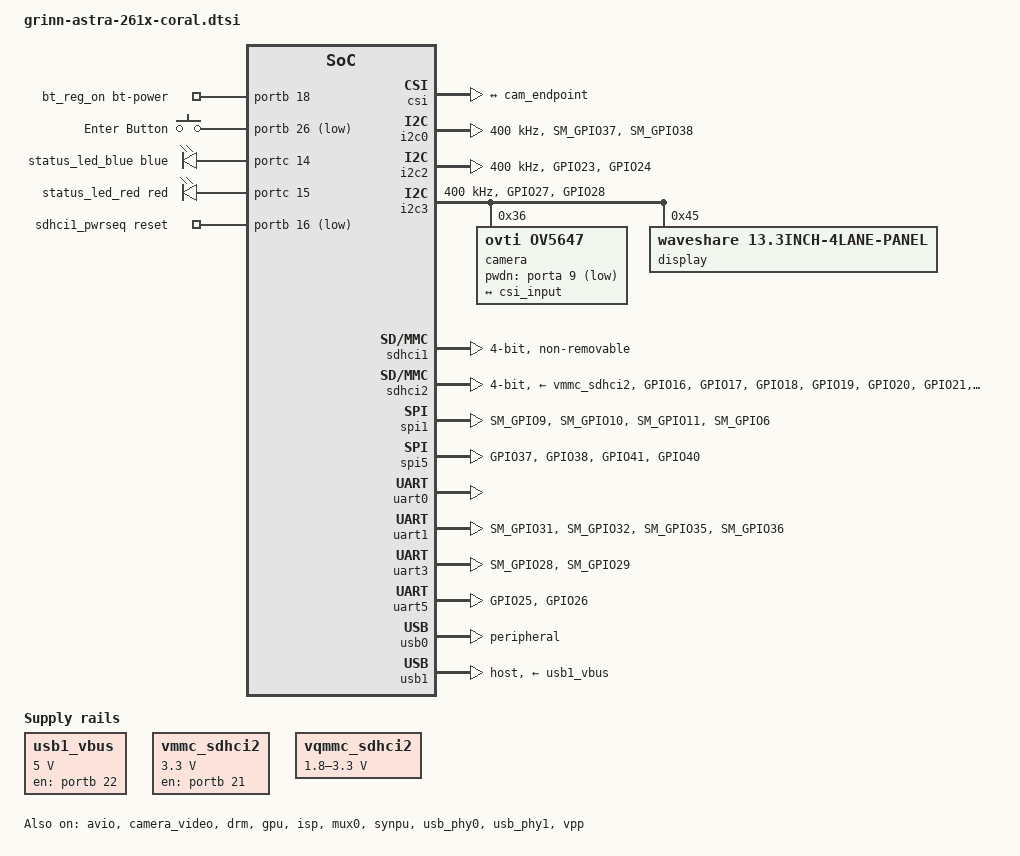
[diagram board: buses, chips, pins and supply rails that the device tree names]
#include <dt-bindings/gpio/gpio.h>
#include <dt-bindings/input/input.h>
#include <dt-bindings/leds/common.h>

/ {
	chosen {
		stdout-path = "serial0:115200n8";
	};

	bt_reg_on: bt-reg-on {
		compatible = "syna,rfkill";
		status = "okay";
		pinctrl-names = "default";
		pinctrl-0 = <&w_disable2_pmux>;
		bt-power-gpio = <&portb 18 GPIO_ACTIVE_HIGH>;
	};

	keys {
		compatible = "gpio-keys";
		status = "okay";

		user-button {
			pinctrl-names = "default";
			pinctrl-0 = <&user_button_pmux>;
			label = "Enter Button";
			linux,code = <KEY_ENTER>;
			gpios = <&portb 26 GPIO_ACTIVE_LOW>;
			debounce-interval = <50>;
		};
	};

	leds {
		compatible = "gpio-leds";
		status = "okay";

		status_led_blue: status-led-blue {
			pinctrl-names = "default";
			pinctrl-0 = <&led_1_pmux>;
			gpios = <&portc 14 GPIO_ACTIVE_HIGH>;
			color = <LED_COLOR_ID_BLUE>;
			function = LED_FUNCTION_DISK_ACTIVITY;
			linux,default-trigger = "mmc0";
			default-state = "off";
		};

		status_led_red: status-led-red {
			pinctrl-names = "default";
			pinctrl-0 = <&led_2_pmux>;
			gpios = <&portc 15 GPIO_ACTIVE_HIGH>;
			color = <LED_COLOR_ID_RED>;
			function = LED_FUNCTION_HEARTBEAT;
			linux,default-trigger = "heartbeat";
			default-state = "off";
		};
	};

	regulators {
		compatible = "simple-bus";
		#address-cells = <1>;
		#size-cells = <0>;

		usb1_vbus: usb1-vbus {
			compatible = "regulator-fixed";
			pinctrl-names = "default";
			pinctrl-0 = <&usb_host_pwr_en_pmux>;
			regulator-name = "usb1_vbus";
			regulator-min-microvolt = <5000000>;
			regulator-max-microvolt = <5000000>;
			gpio = <&portb 22 GPIO_ACTIVE_HIGH>;
			enable-active-high;
		};

		vmmc_sdhci2: vmmc-sdhci2 {
			compatible = "regulator-fixed";
			pinctrl-names = "default";
			pinctrl-0 = <&vmmc_sdhci2_pmux>;
			regulator-name = "vmmc_sdio";
			regulator-min-microvolt = <3300000>;
			regulator-max-microvolt = <3300000>;
			gpio = <&portb 21 GPIO_ACTIVE_HIGH>;
			enable-active-high;
			regulator-boot-on;
		};

		vqmmc_sdhci2: vqmmc-sdhci2 {
			compatible = "regulator-gpio";
			pinctrl-names = "default";
			pinctrl-0 = <&vqmmc_sdhci2_pmux>;
			regulator-name = "vqmmc_sdio";
			regulator-type = "voltage";
			regulator-min-microvolt = <1800000>;
			regulator-max-microvolt = <3300000>;
			gpios = <&portb 23 GPIO_ACTIVE_HIGH>;
			enable-active-high;
			states = <1800000 0x0
				  3300000 0x1>;
		};
	};

	sdhci1_pwrseq: sdhci1-pwrseq {
		compatible = "mmc-pwrseq-simple";
		pinctrl-names = "default";
		pinctrl-0 = <&w_disable1_pmux>;
		reset-gpios = <&portb 16 GPIO_ACTIVE_LOW>;
		post-power-on-delay-ms = <50>;
	};
};

&avio {
	status = "okay";
};

&camera_video {
	status = "okay";
};

&csi {
	status = "okay";

	ports {
		port@0 {
			csi_input: endpoint@0 {
				remote-endpoint = <&cam_endpoint>;
			};
		};
	};
};

&drm {
	status = "okay";

	dsi_panel {
		status = "okay";

		backlight = <&display>;
		compatible_panel="waveshare,13.3inch-4lane-panel";
		ACTIVE_WIDTH = <1920>;
		HFP = <88>;
		HSYNCWIDTH = <44>;
		HBP = <148>;
		ACTIVE_HEIGHT = <1080>;
		VFP = <4>;
		VSYNCWIDTH = <5>;
		VBP = <36>;
		FREQ = <148500>;
		bits_per_pixel = <24>;
		busformat = <0>;

		HTOTAL = <2200>;
		Lanes = /bits/ 8 <4>;
		Vid_mode = /bits/ 8 <2>;
		virtual_chan = /bits/ 8 <0>;
		Clk_Lane_Polarity = /bits/ 8 <0>;
		Data_Lane_Polarity = /bits/ 8 <0>;
		Recv_ack = /bits/ 8 <0>;
		Loosely_18 = /bits/ 8 <0>;
		H_polarity = /bits/ 8 <1>;
		V_Polarity = /bits/ 8 <1>;
		Data_Polarity = /bits/ 8 <1>;
		Eotp_tx = /bits/ 8 <1>;
		Eotp_rx = /bits/ 8 <0>;
		non-Continuous_clk = /bits/ 8 <0>;
		dpi_lp_cmd = /bits/ 8 <1>;
		Color_coding = /bits/ 8 <5>;
		Chunks = <0>;
		Null_Pkt = <0>;
		Byte_clk = <148500>;

		command = /bits/ 8 <0xFF  0x10 0x27  0x00  0x00>;
	};
};

&gpu {
	status = "okay";
};

&i2c0 {
	status = "okay";
	pinctrl-names = "default";
	pinctrl-0 = <&i2c0_pmux>;
	clock-frequency = <400000>;
	i2c-sda-hold-time-ns = <300>;
	i2c-sda-falling-time-ns = <250>;
	i2c-scl-falling-time-ns = <250>;
};

&i2c2 {
	status = "okay";
	pinctrl-names = "default";
	pinctrl-0 = <&i2c2_pmux>;
	clock-frequency = <400000>;
	i2c-sda-hold-time-ns = <300>;
	i2c-sda-falling-time-ns = <250>;
	i2c-scl-falling-time-ns = <250>;
};

&i2c3 {
	status = "okay";
	pinctrl-names = "default";
	pinctrl-0 = <&i2c3_pmux>;
	no-irq-suspend;
	clock-frequency = <400000>;
	i2c-sda-hold-time-ns = <300>;
	i2c-sda-falling-time-ns = <250>;
	i2c-scl-falling-time-ns = <250>;

	camera: ov5647@36 {
		compatible = "ovti,ov5647";
		status = "okay";
		pinctrl-names = "default";
		pinctrl-0 = <&csi_gpio1_pmux>;
		reg = <0x36>;
		pwdn-gpios = <&porta 9 GPIO_ACTIVE_LOW>;
		clocks = <&osc>;
		rotation = <0>;
		orientation = <2>;

		port {
			cam_endpoint: endpoint {
				clock-lanes = <0>;
				data-lanes = <1 2>;
				clock-noncontinuous;
				remote-endpoint = <&csi_input>;
			};
		};
	};

	display: waveshare@45 {
		compatible = "waveshare,13.3inch-4lane-panel";
		status= "okay";
		reg = <0x45>;
	};
};

&isp {
	status = "okay";
};

&mux0 {
	status = "okay";
};

&pdma0 {
	status = "okay";
};

&pdma1 {
	status = "okay";
};

&pinctrl {
	i2c2_pmux: i2c2-pmux {
		groups = "GPIO23", "GPIO24";
		function = "tw2";
		drive-strength = <7>;
	};

	i2c3_pmux: i2c3-pmux {
		groups = "GPIO27", "GPIO28";
		function = "tw3";
		drive-strength = <7>;
	};

	sdhci2_pmux: sdhci2-pmux {
		groups = "GPIO16", "GPIO17", "GPIO18", "GPIO19", "GPIO20", "GPIO21", "GPIO22";
		function = "sdio2";
		drive-strength = <7>;
	};

	spi5_pmux: spi5-pmux {
		groups = "GPIO37", "GPIO38", "GPIO41";
		function = "spi5";
	};

	spi5_ss2_pmux: spi5-ss2-pmux {
		groups = "GPIO40";
		function = "gpio";
	};

	uart5_pmux: uart5-pmux {
		groups = "GPIO25", "GPIO26";
		function = "uart5";
		drive-strength = <7>;
	};

	usb_host_pwr_en_pmux: usb-host-pwr-en-pmux {
		groups = "GPIO54";
		function = "gpio";
	};

	user_button_pmux: user-button-pmux {
		groups = "GPIO58";
		function = "gpio";
	};

	vmmc_sdhci2_pmux: vmmc-sdhci2-pmux {
		groups = "GPIO53";
		function = "gpio";
	};

	vqmmc_sdhci2_pmux: vqmmc-sdhci2-pmux {
		groups = "GPIO55";
		function = "gpio";
	};

	w_disable1_pmux: w-disable1-pmux {
		groups = "GPIO48";
		function = "gpio";
	};

	w_disable2_pmux: w-disable2-pmux {
		groups = "GPIO50";
		function = "gpio";
	};
};

&porta {
	gpio-line-names =
		"", "", "", "SDIO_RSTn", "", "", "", "",
		"", "CSI_GPIO0", "", "", "", "", "", "",
		"", "", "", "", "", "", "", "",
		"", "", "", "", "", "", "", "";
};

&portb {
	gpio-line-names =
		"", "", "", "", "", "", "", "",
		"SPI5_SS2", "", "GPIO42", "", "GPIO44", "GPIO45", "POWER_SOURCE", "GPIO47",
		"W_DISABLE1n", "M2_SDIO_HOST_WAKEn", "W_DISABLE2n", "USB_HOST_OCSn", "", "USD_PWR_EN", "USB_HOST_POWER_EN", "USD_VSEL",
		"GPIO56", "WAKEUPn", "USER_BUTTONn", "", "", "", "", "";
};

&portc {
	gpio-line-names =
		"", "", "", "", "", "VCORE_ONn", "SM_SPI1_SS3", "",
		"", "", "", "", "", "", "LED_1", "LED_2";
};

&porte {
	gpio-line-names =
		"", "", "", "SM_GPIO27", "", "", "CSI_GPIO1", "";
};

&portf {
	gpio-line-names =
		"", "", "SM_GPIO34", "", "", "", "", "";
};

&sdhci1 {
	status = "okay";
	bus-width = <4>;
	sdclkdl-dc = /bits/ 8 <50>;
	pad-sp = /bits/ 8 <12>;
	pad-sn = /bits/ 8 <12>;
	no-sd;
	no-mmc;
	non-removable;
	mmc-pwrseq = <&sdhci1_pwrseq>;
	mode1-tune;
	keep-power-in-suspend;
};

&sdhci2 {
	status = "okay";
	pinctrl-names = "default";
	pinctrl-0 = <&sdhci2_pmux>;
	bus-width = <4>;
	no-mmc;
	disable-wp;
	cap-sd-highspeed;
	sd-uhs-sdr12;
	sd-uhs-sdr25;
	sd-uhs-sdr50;
	sd-uhs-sdr104;
	vmmc-supply = <&vmmc_sdhci2>;
	vqmmc-supply = <&vqmmc_sdhci2>;
	mux-states = <&mux0 0 3>;
};

&sm_pinctrl {
	csi_gpio1_pmux: csi-gpio1-pmux {
		groups = "SM_GPIO30";
		function = "gpio";
	};

	i2c0_pmux: i2c0-pmux {
		groups = "SM_GPIO37", "SM_GPIO38";
		function = "tw0";
		drive-strength = <7>;
	};

	led_1_pmux: led-1-pmux {
		groups = "SM_GPIO14";
		function = "gpio";
	};

	led_2_pmux: led-2-pmux {
		groups = "SM_GPIO15";
		function = "gpio";
	};

	spi1_pmux: spi1-pmux {
		groups = "SM_GPIO9", "SM_GPIO10", "SM_GPIO11";
		function = "spi1";
	};

	spi1_ss3_pmux: spi1-ss3-pmux {
		groups = "SM_GPIO6";
		function = "gpio";
	};

	uart1_pmux: uart1-pmux {
		groups = "SM_GPIO31", "SM_GPIO32", "SM_GPIO35", "SM_GPIO36";
		function = "uart1";
		drive-strength = <7>;
	};

	uart3_pmux: uart3-pmux {
		groups = "SM_GPIO28", "SM_GPIO29";
		function = "uart3";
		drive-strength = <7>;
	};
};

&smmu {
	status = "okay";
};

&spi1 {
	status = "okay";
	pinctrl-names = "default";
	pinctrl-0 = <&spi1_pmux>, <&spi1_ss3_pmux>;

	cs-gpios = <&portc 6 GPIO_ACTIVE_LOW>;
};

&spi5 {
	status = "okay";
	pinctrl-names = "default";
	pinctrl-0 = <&spi5_pmux>, <&spi5_ss2_pmux>;

	cs-gpios = <&portb 8 GPIO_ACTIVE_LOW>;
};

&synpu {
	status = "okay";
};

&uart0 {
	status = "okay";
};

&uart1 {
	status = "okay";
	pinctrl-names = "default";
	pinctrl-0 = <&uart1_pmux>;
	/delete-property/ dmas;
	/delete-property/ dma-names;
};

&uart3 {
	status = "okay";
	pinctrl-names = "default";
	pinctrl-0 = <&uart3_pmux>;
};

&uart5 {
	status = "okay";
	pinctrl-names = "default";
	pinctrl-0 = <&uart5_pmux>;
};

&usb0 {
	status = "okay";
	dr_mode = "peripheral";
};

&usb_phy0 {
	status = "okay";
};

&usb1 {
	status = "okay";
	vbus-supply = <&usb1_vbus>;
	dr_mode = "host";
};

&usb_phy1 {
	status = "okay";
};

&vpp {
    status = "okay";
    enable_ampless_boot = <1>;
};
